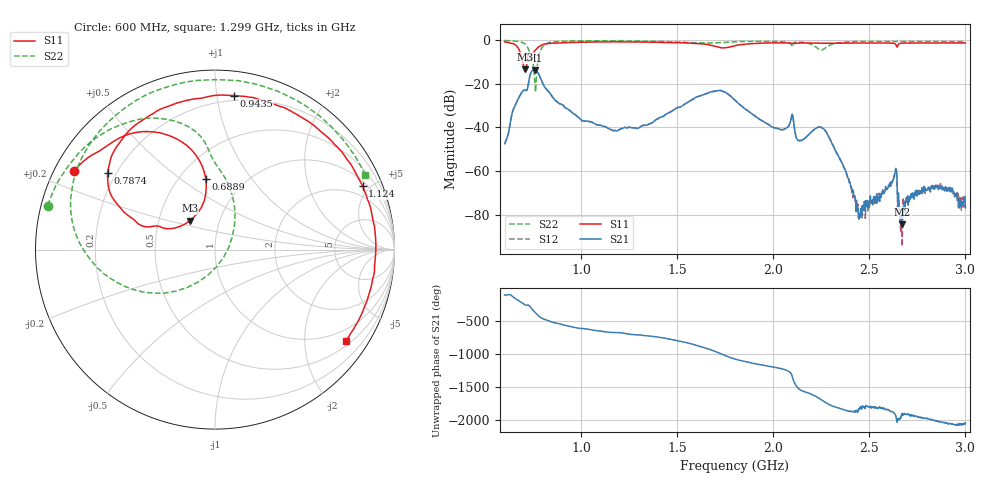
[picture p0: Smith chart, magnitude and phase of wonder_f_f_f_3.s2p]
#  HZ  S  RI  R  50.00
! Rohde & Schwarz ZVB8 2Ports - Version 2.81 - 1145.1010k08 SN: 100113
! Date: 2016-05-12 03:17:09
! Measurements: S11 S21 S12 S22
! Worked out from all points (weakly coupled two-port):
!   1000 points, 600 MHz to 3 GHz, reference 50 ohm
!   highest |S21| = -13.73 dB at 756.2 MHz (marker M1); lowest = -84.1 dB at 2.671 GHz (marker M2)
!   lowest |S11| = -13.4 dB at 705.7 MHz (marker M3), VSWR 1.54, Z = 36 + j12.1 ohm
!   |S11| at or under -10 dB: 693.8 MHz to 719.8 MHz (26.05 MHz wide, 3.69 % of centre)
!   |S22| runs from -23.8 to -0.3 dB; largest |S21 - S12| = 0.0028
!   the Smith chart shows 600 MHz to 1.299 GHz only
!   S11 on the Smith chart (normalised r, x): 600 MHz: 0.06, +0.26; 688.9 MHz: 0.67, +0.62; 787.4 MHz: 0.17, +0.31; 943.5 MHz: 0.16, +1.12; 1.124 GHz: 1.28, +4.53; 1.299 GHz: 0.63, -3.05
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6e8  -0.7863 0.4386  -0.0015 -0.00397  -0.00149 -0.00393  -0.9319 0.2456
6.888889e8  -0.0509 0.3912  -0.0434 0.0445  -0.0436 0.0444  -0.5354 0.6915
7.057057e8  -0.1407 0.1607  -0.0145 0.0689  -0.0139 0.069  -0.3393 0.7325
7.561562e8  -0.5101 0.2117  0.2045 -0.0227  0.2046 -0.0228  0.0966 0.0736
7.873874e8  -0.5978 0.4292  0.000664 -0.1329  0.000481 -0.1319  -0.5439 -0.1841
8.306306e8  -0.4414 0.6958  -0.0511 -0.0395  -0.0511 -0.0394  -0.8011 0.3086
9.435435e8  0.1067 0.8582  -0.0155 0.0177  -0.0155 0.0177  -0.4246 0.8394
1.001201e9  0.3886 0.7893  -0.00297 0.0141  -0.00303 0.014  -0.1813 0.9299
1.123724e9  0.8228 0.3525  0.00629 0.00829  0.00637 0.00834  0.3255 0.8902
1.299099e9  0.7272 -0.511  0.00974 0.00101  0.00983 0.00104  0.8361 0.416
1.4e9  0.3448 -0.8045  0.0141 -0.00738  0.0141 -0.00734  0.9188 0.0336
1.678679e9  -0.636 -0.3847  -0.0455 0.0467  -0.0455 0.0468  0.4703 -0.7051
1.801201e9  -0.7058 -0.1983  0.0414 -0.000398  0.0416 -0.000391  0.1717 -0.8851
1.976577e9  -0.7231 0.4402  -0.00407 -0.0108  -0.00403 -0.0108  -0.3733 -0.8344
2.2e9  0.0203 0.8449  -0.00808 -0.000659  -0.008 -0.000595  -0.7212 -0.2905
2.276877e9  0.318 0.7686  0.00458 0.0061  0.00457 0.00594  -0.5562 -0.3944
2.452252e9  0.8018 0.2542  8.96e-05 -1.61e-05  6.15e-05 -6.98e-05  -0.9098 -0.0604
2.601201e9  0.7475 -0.3885  0.000309 -0.000371  0.000217 -0.000396  -0.8685 0.2975
2.632432e9  0.6334 -0.5156  -0.000321 -0.000843  -0.000321 -0.000841  -0.845 0.3655
2.670871e9  0.5995 -0.5853  -1.25e-05 -6.1e-05  1.08e-05 1.64e-05  -0.8047 0.441
2.834234e9  0.00611 -0.8414  -0.000432 0.000191  -0.000366 0.000157  -0.5543 0.7283
3e9  -0.5537 -0.6388  -5.54e-05 0.000142  -2.76e-05 0.000138  -0.1826 0.8847
